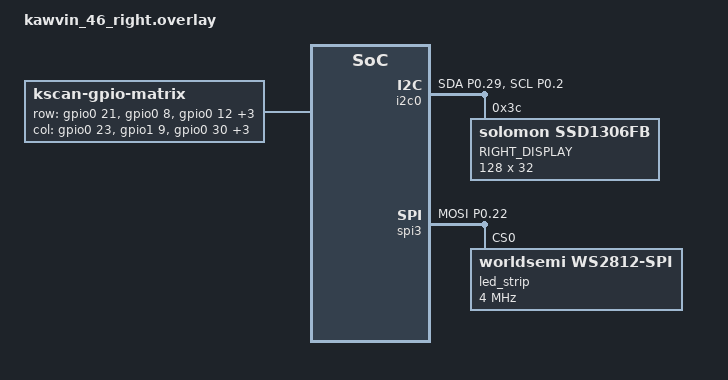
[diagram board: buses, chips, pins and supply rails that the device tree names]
/*
 * Copyright (c) 2023 The ZMK Contributors
 *
 * SPDX-License-Identifier: MIT
 */

#include "kawvin_46.dtsi"
#include <dt-bindings/led/led.h>

&pinctrl {
    i2c0_default: i2c0_default {
        group1 {
            psels = <NRF_PSEL(TWIM_SDA, 0, 29)>,
                    <NRF_PSEL(TWIM_SCL, 0, 2)>;
        };
    };

    i2c0_sleep: i2c0_sleep {
        group1 {
            psels = <NRF_PSEL(TWIM_SDA, 0, 29)>,
                    <NRF_PSEL(TWIM_SCL, 0, 2)>;
            low-power-enable;
        };
    };

    spi3_default: spi3_default {
        group1 {
            psels = <NRF_PSEL(SPIM_MOSI, 0, 22)>;
        };
    };

    spi3_sleep: spi3_sleep {
        group1 {
            psels = <NRF_PSEL(SPIM_MOSI, 0, 22)>;
            low-power-enable;
        };
    };
};

&i2c0 {
	status = "okay";
	//compatible = "nordic,nrf-twi";
	pinctrl-0 = <&i2c0_default>;
	pinctrl-1 = <&i2c0_sleep>;
	pinctrl-names = "default", "sleep";
    
	oled: ssd1306@3c {
        // 分辨率修改
        width = <128>;
		height = <32>;

        // 0.91或0.96，使用以下
        compatible = "solomon,ssd1306fb";   //0.91   0.96
        segment-offset = <0>;   //0.91   0.96
        multiplex-ratio = <31>; //128*32
        com-sequential; //1.30注销本行
        
        // 1.30，使用以下
        //compatible = "sinowealth,sh1106";   //1.30
        //segment-offset = <2>;   //1.30
		//multiplex-ratio = <63>; //128*64
        
		reg = <0x3c>;
		label = "RIGHT_DISPLAY";
		page-offset = <0>;
		display-offset = <0>;
		segment-remap;
		com-invdir;
        inversion-on;   // 翻转颜色
		prechargep = <0x22>;
        
	};
};

&spi3 {
    compatible = "nordic,nrf-spim";
    status = "okay";

    pinctrl-0 = <&spi3_default>;
    pinctrl-1 = <&spi3_sleep>;
    pinctrl-names = "default", "sleep";

    led_strip: ws2812@0 {
        compatible = "worldsemi,ws2812-spi";

        /* SPI */
        reg = <0>; /* ignored, but necessary for SPI bindings */
        spi-max-frequency = <4000000>;

        /* WS2812 */
        chain-length = <1>; /* arbitrary; change at will */
        spi-one-frame = <0x70>;
        spi-zero-frame = <0x40>;
        color-mapping = <LED_COLOR_ID_GREEN LED_COLOR_ID_RED LED_COLOR_ID_BLUE>;
    };
};

/ {
    chosen {
        zmk,kscan = &kscan;
	    zephyr,display = &oled;
        zmk,underglow = &led_strip;
    };

    kscan: kscan {
        compatible = "zmk,kscan-gpio-matrix";
        wakeup-source;

        diode-direction = "col2row";

        row-gpios
            = <&gpio0 21 (GPIO_PULL_DOWN | GPIO_ACTIVE_HIGH)>
            , <&gpio0  8 (GPIO_PULL_DOWN | GPIO_ACTIVE_HIGH)>
            , <&gpio0 12 (GPIO_PULL_DOWN | GPIO_ACTIVE_HIGH)>
            , <&gpio0 11 (GPIO_PULL_DOWN | GPIO_ACTIVE_HIGH)>
            , <&gpio0  6 (GPIO_PULL_DOWN | GPIO_ACTIVE_HIGH)>
            , <&gpio0 19 (GPIO_PULL_DOWN | GPIO_ACTIVE_HIGH)>
            ;

        col-gpios
            = <&gpio0 23 GPIO_ACTIVE_HIGH>
            , <&gpio1  9 GPIO_ACTIVE_HIGH>
            , <&gpio0 30 GPIO_ACTIVE_HIGH>
            , <&gpio0 28 GPIO_ACTIVE_HIGH>
            , <&gpio0  3 GPIO_ACTIVE_HIGH>
            , <&gpio0 20 GPIO_ACTIVE_HIGH>
            ;
    };
};

&default_transform {
    col-offset = <6>;
};

